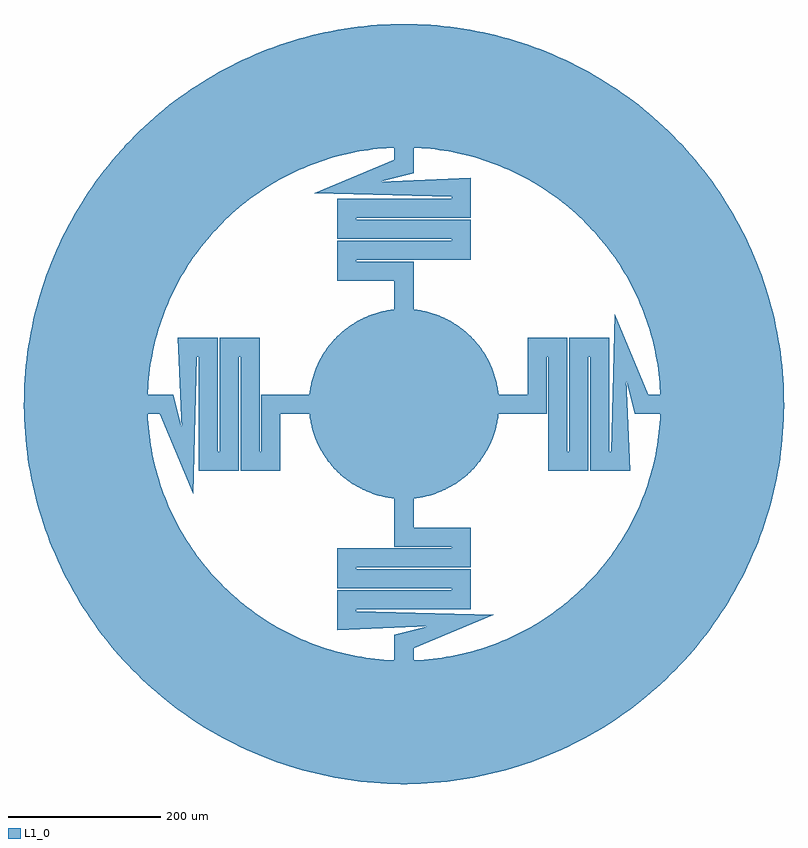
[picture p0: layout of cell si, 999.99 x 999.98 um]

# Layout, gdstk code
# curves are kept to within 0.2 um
import gdstk
lib = gdstk.Library(unit=1e-6, precision=1e-09)
def P(c, l, *ps):  # polygons
    for p in ps: c.add(gdstk.Polygon(p, *l))
L1_0 = (1, 0)

c_si = lib.new_cell('si')
P(c_si, L1_0, [(-1.094,-124.995),(-14.19,-124.192),(-24.989,-122.477),(-37.69,-119.183),(-47.962,-115.433),(-57.867,-110.799),(-69.162,-104.123),(-79.695,-96.3),(-89.35,-87.416),(-98.021,-77.569),(-104.425,-68.706),(-111.051,-57.381),(-116.454,-45.425),(-119.979,-35.073),(-122.994,-22.304),(-124.473,-11.469),(-124.989,1.641),(-124.368,12.558),(-122.366,25.525),(-119.017,38.211),(-115.222,48.466),(-109.507,60.277),(-103.82,69.617),(-95.951,80.115),(-87.024,89.732),(-77.14,98.359),(-68.248,104.724),(-56.895,111.301),(-46.95,115.848),(-36.645,119.508),(-23.917,122.691),(-10.925,124.522),(2.188,124.981),(15.276,124.063),(26.06,122.253),(36.645,119.508),(48.97,115.008),(60.755,109.242),(70.07,103.514),(80.535,95.599),(88.582,88.195),(97.338,78.424),(103.82,69.617),(109.507,60.277),(115.222,48.466),(119.667,36.122),(122.794,23.38),(124.368,12.558),(124.999,-0.547),(124.473,-11.469),(122.585,-24.453),(119.346,-37.168),(114.793,-49.473),(108.975,-61.233),(103.206,-70.523),(96.648,-79.273),(87.806,-88.967),(79.695,-96.3),(69.162,-104.123),(57.867,-110.799),(47.962,-115.433),(37.69,-119.183),(24.989,-122.477),(12.014,-124.421)],
  [(-4.375,-499.981),(-30.609,-499.062),(-56.759,-496.768),(-82.752,-493.105),(-99.958,-489.907),(-125.531,-483.985),(-150.759,-476.73),(-175.57,-468.161),(-199.898,-458.302),(-215.815,-451.025),(-239.188,-439.078),(-261.902,-425.92),(-283.894,-411.588),(-305.103,-396.121),(-325.472,-379.563),(-344.944,-361.959),(-357.4,-349.665),(-375.258,-330.426),(-392.082,-310.277),(-407.826,-289.272),(-417.699,-274.822),(-431.547,-252.522),(-440.12,-237.265),(-451.965,-213.839),(-462.565,-189.825),(-471.89,-165.287),(-479.914,-140.294),(-486.616,-114.914),(-491.976,-89.217),(-494.797,-71.945),(-497.891,-45.878),(-499.612,-19.685),(-499.957,6.563),(-499.421,24.056),(-497.47,50.233),(-495.408,67.612),(-491.176,93.519),(-487.603,110.651),(-481.124,136.089),(-473.318,161.151),(-464.209,185.77),(-457.423,201.902),(-446.196,225.63),(-438.027,241.107),(-424.769,263.763),(-415.278,278.467),(-400.092,299.878),(-383.802,320.462),(-368.884,337.5),(0,337.5),(-17.713,337.035),(-29.497,336.209),(-41.245,334.97),(-52.942,333.322),(-64.575,331.265),(-81.872,327.419),(-98.942,322.671),(-110.174,319.011),(-121.271,314.96),(-137.633,308.161),(-148.334,303.156),(-158.852,297.779),(-169.176,292.037),(-179.293,285.938),(-194.052,276.134),(-203.597,269.174),(-212.893,261.884),(-226.343,250.35),(-234.966,242.275),(-243.301,233.904),(-255.241,220.813),(-266.478,207.113),(-273.563,197.66),(-280.313,187.965),(-286.719,178.04),(-292.775,167.897),(-301.183,152.3),(-306.328,141.666),(-311.098,130.859),(-317.537,114.352),(-323.101,97.529),(-326.316,86.162),(-329.132,74.689),(-331.544,63.125),(-333.55,51.484),(-335.792,33.907),(-336.773,22.135),(-337.342,10.335),(-337.419,-7.383),(-336.567,-25.081),(-335.483,-36.845),(-333.988,-48.563),(-332.084,-60.221),(-329.773,-71.806),(-325.55,-89.014),(-320.43,-105.977),(-316.524,-117.126),(-312.232,-128.132),(-305.077,-144.342),(-299.838,-154.93),(-294.233,-165.328),(-288.266,-175.524),(-281.947,-185.505),(-271.823,-200.046),(-260.95,-214.036),(-253.299,-223.038),(-245.338,-231.766),(-232.837,-244.322),(-224.144,-252.321),(-215.176,-260.011),(-201.234,-270.945),(-191.628,-277.822),(-181.788,-284.358),(-171.725,-290.546),(-161.452,-296.377),(-145.675,-304.442),(-129.497,-311.668),(-118.51,-316.009),(-107.378,-319.963),(-96.115,-323.525),(-84.734,-326.69),(-67.472,-330.687),(-55.857,-332.846),(-44.175,-334.597),(-26.554,-336.454),(-8.859,-337.384),(2.953,-337.487),(14.763,-337.177),(32.438,-335.938),(44.175,-334.597),(55.857,-332.846),(67.472,-330.687),(79.003,-328.123),(96.115,-323.525),(112.961,-318.035),(124.022,-313.886),(134.931,-309.354),(145.675,-304.442),(156.24,-299.158),(171.725,-290.546),(186.737,-281.133),(196.461,-274.425),(205.945,-267.382),(219.694,-256.205),(228.525,-248.359),(237.077,-240.21),(249.357,-227.436),(260.95,-214.036),(271.823,-200.046),(281.947,-185.505),(291.294,-170.452),(297.081,-160.154),(305.077,-144.342),(312.232,-128.132),(318.526,-111.569),(323.942,-94.698),(328.466,-77.567),(330.979,-66.024),(333.988,-48.563),(335.483,-36.845),(336.954,-19.187),(337.497,-1.477),(337.109,16.238),(335.792,33.907),(333.55,51.484),(330.389,68.918),(326.316,86.162),(321.345,103.169),(315.487,119.892),(311.098,130.859),(303.802,147.006),(298.471,157.548),(289.791,172.995),(280.313,187.965),(270.062,202.417),(259.067,216.312),(247.357,229.61),(234.966,242.275),(226.343,250.35),(212.893,261.884),(203.597,269.174),(194.052,276.134),(184.27,282.756),(174.261,289.032),(158.852,297.779),(148.334,303.156),(137.633,308.161),(126.764,312.789),(115.74,317.034),(104.574,320.89),(87.589,325.936),(76.129,328.802),(64.575,331.265),(52.942,333.322),(41.245,334.97),(29.497,336.209),(17.713,337.035),(5.907,337.448),(-368.884,337.5),(-354.326,352.779),(-335.323,370.888),(-315.396,387.976),(-294.6,403.994),(-272.992,418.898),(-250.631,432.648),(-227.58,445.205),(-203.901,456.535),(-179.66,466.607),(-154.925,475.393),(-129.762,482.868),(-104.241,489.013),(-78.433,493.81),(-52.409,497.246),(-26.241,499.311),(0,500),(17.498,499.694),(43.699,498.087),(69.779,495.107),(95.667,490.763),(121.291,485.065),(146.581,478.031),(171.467,469.68),(195.88,460.034),(211.86,452.897),(235.337,441.154),(258.165,428.195),(280.281,414.056),(294.6,403.994),(315.396,387.976),(335.323,370.888),(354.326,352.779),(372.352,333.697),(389.352,313.696),(405.279,292.83),(415.278,278.467),(429.321,256.289),(442.179,233.404),(453.819,209.876),(464.209,185.77),(473.318,161.151),(481.124,136.089),(487.603,110.651),(491.176,93.519),(495.408,67.612),(498.273,41.519),(499.421,24.056),(499.995,-2.188),(499.191,-28.425),(497.012,-54.584),(494.797,-71.945),(490.339,-97.813),(486.616,-114.914),(479.914,-140.294),(471.89,-165.287),(462.565,-189.825),(451.965,-213.839),(440.12,-237.265),(427.061,-260.036),(412.826,-282.09),(402.701,-296.365),(386.592,-317.091),(369.418,-336.943),(351.225,-355.866),(332.065,-373.809),(311.989,-390.721),(291.054,-406.556),(269.316,-421.271),(254.408,-430.438),(231.467,-443.196),(207.888,-454.733),(183.737,-465.017),(159.079,-474.019),(142.392,-479.296),(117.042,-486.108),(91.369,-491.581),(65.444,-495.699),(39.339,-498.45),(13.125,-499.828)])
c_si.add(gdstk.FlexPath([(0,0),(0,175),(-75,175),(-75,202.5),(75,202.5),(75,230),(-75,230),(-75,257.5),(75,257.5),(75,285),(-75,285),(-75,285),(0,312.5),(0,337.5)], 25, ends="flush", simple_path=True, layer=1, datatype=0))  # L1_0
c_si.add(gdstk.FlexPath([(0,0),(-175,0),(-175,-75),(-202.5,-75),(-202.5,75),(-230,75),(-230,-75),(-257.5,-75),(-257.5,75),(-285,75),(-285,-75),(-285,-75),(-312.5,0),(-337.5,0)], 25, ends="flush", simple_path=True, layer=1, datatype=0))  # L1_0
c_si.add(gdstk.FlexPath([(0,0),(0,-175),(75,-175),(75,-202.5),(-75,-202.5),(-75,-230),(75,-230),(75,-257.5),(-75,-257.5),(-75,-285),(75,-285),(75,-285),(0,-312.5),(0,-337.5)], 25, ends="flush", simple_path=True, layer=1, datatype=0))  # L1_0
c_si.add(gdstk.FlexPath([(0,0),(175,0),(175,75),(202.5,75),(202.5,-75),(230,-75),(230,75),(257.5,75),(257.5,-75),(285,-75),(285,75),(285,75),(312.5,0),(337.5,0)], 25, ends="flush", simple_path=True, layer=1, datatype=0))  # L1_0

lib.write_gds('si.gds')
